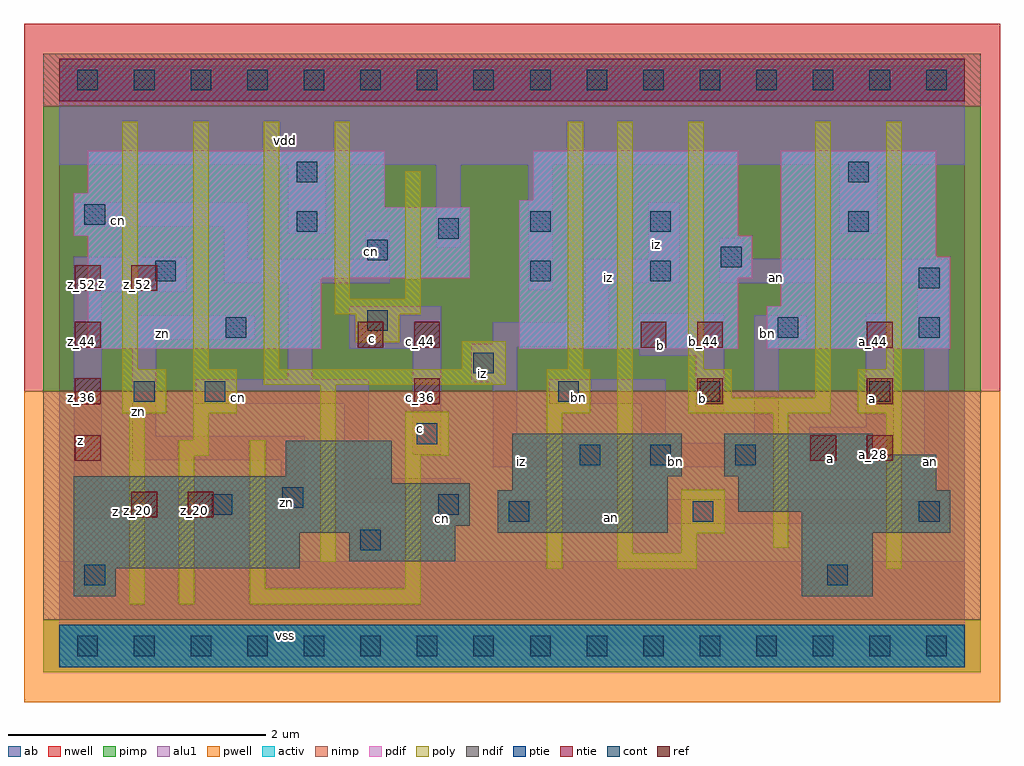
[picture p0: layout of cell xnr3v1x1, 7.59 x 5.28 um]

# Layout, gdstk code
import gdstk
lib = gdstk.Library(unit=1e-6, precision=2.5e-09)
def R(c, l, rs):  # rectangles x0, y0, x1, y1
    for r in rs: c.add(gdstk.rectangle(r[:2], r[2:], *l))
def A(c, l, x, y, w, h, nx, ny, dx, dy):  # array of equal rectangles
    R(c, l, [(x+i*dx, y+j*dy, x+i*dx+w, y+j*dy+h) for i in range(nx) for j in range(ny)])
ndif = (3, 0)
pdif = (4, 0)
ntie = (5, 0)
ptie = (6, 0)
ref = (24, 0)
cont = (25, 0)
pwell = (41, 0)
nwell = (42, 0)
activ = (43, 0)
pimp = (44, 0)
nimp = (45, 0)
poly = (46, 0)
alu1 = (49, 0)
ab = (63, 0)

xnr3v1x1 = lib.new_cell('xnr3v1x1')
R(xnr3v1x1, ndif, [(0.11,0.385,0.44,0.605), (5.775,0.385,6.325,0.88), (0.11,0.605,1.87,0.88), (2.255,0.66,3.08,0.88), (0.11,0.88,3.08,0.935), (3.41,0.88,4.73,1.21), (5.775,0.88,6.93,1.045), (0.11,0.935,3.19,1.265), (5.28,1.045,6.93,1.21), (3.52,1.21,4.73,1.32), (5.28,1.21,6.82,1.32), (0.11,1.265,2.585,1.32), (1.76,1.32,2.585,1.595), (3.52,1.32,4.84,1.65), (5.17,1.32,6.82,1.485), (5.17,1.485,6.325,1.65)])
R(xnr3v1x1, pdif, [(0.22,2.31,2.035,2.86), (3.575,2.31,5.28,2.86), (5.5,2.31,6.93,2.64), (5.61,2.64,6.93,3.025), (0.22,2.86,3.19,3.19), (3.575,2.86,5.39,3.19), (5.61,3.025,6.82,3.85), (0.11,3.19,3.19,3.41), (3.575,3.19,5.28,3.465), (0.11,3.41,2.53,3.52), (3.685,3.465,5.28,3.85), (0.22,3.52,2.53,3.85)])
R(xnr3v1x1, ntie, [(0,4.235,7.04,4.565)])
R(xnr3v1x1, ptie, [(0,-0.165,7.04,0.165)])
A(xnr3v1x1, ref, 0.12, 1.44, 0.2, 0.2, 1, 4, 0, 0.44)
A(xnr3v1x1, ref, 6.28, 1.44, 0.2, 0.2, 1, 3, 0, 0.44)
R(xnr3v1x1, ref, [(0.56,1,0.76,1.2), (1,1,1.2,1.2), (5.84,1.44,6.04,1.64), (2.76,1.88,2.96,2.08), (4.96,1.88,5.16,2.08), (2.32,2.32,2.52,2.52), (2.76,2.32,2.96,2.52), (4.52,2.32,4.72,2.52), (4.96,2.32,5.16,2.52), (0.56,2.76,0.76,2.96)])
A(xnr3v1x1, cont, 0.14, -0.08, 0.16, 0.16, 16, 2, 0.44, 4.4)
R(xnr3v1x1, cont, [(0.195,0.47,0.355,0.63), (5.97,0.47,6.13,0.63), (2.34,0.745,2.5,0.905), (3.495,0.965,3.655,1.125), (4.925,0.965,5.085,1.125), (6.685,0.965,6.845,1.125), (1.185,1.02,1.345,1.18), (2.945,1.02,3.105,1.18), (1.735,1.075,1.895,1.235), (4.045,1.405,4.205,1.565), (4.595,1.405,4.755,1.565), (5.255,1.405,5.415,1.565), (2.78,1.57,2.94,1.73), (0.58,1.9,0.74,2.06), (1.13,1.9,1.29,2.06), (3.88,1.9,4.04,2.06), (4.98,1.9,5.14,2.06), (6.3,1.9,6.46,2.06), (3.22,2.12,3.38,2.28), (1.295,2.395,1.455,2.555), (5.585,2.395,5.745,2.555), (6.685,2.395,6.845,2.555), (2.395,2.45,2.555,2.61), (6.685,2.78,6.845,2.94), (0.745,2.835,0.905,2.995), (3.66,2.835,3.82,2.995), (4.595,2.835,4.755,2.995), (5.145,2.945,5.305,3.105), (2.395,3,2.555,3.16), (2.945,3.165,3.105,3.325), (1.845,3.22,2.005,3.38), (3.66,3.22,3.82,3.38), (4.595,3.22,4.755,3.38), (6.135,3.22,6.295,3.38), (0.195,3.275,0.355,3.435), (1.845,3.605,2.005,3.765), (6.135,3.605,6.295,3.765)])
R(xnr3v1x1, pwell, [(-0.275,-0.44,7.315,1.98)])
R(xnr3v1x1, nwell, [(-0.275,1.98,7.315,4.84)])
R(xnr3v1x1, activ, [(0,-0.165,7.04,0.165), (0.11,0.385,0.44,0.605), (5.775,0.385,6.325,0.88), (0.11,0.605,1.87,0.88), (2.255,0.66,3.08,0.88), (0.11,0.88,3.08,0.935), (3.41,0.88,4.73,1.21), (5.775,0.88,6.93,1.045), (0.11,0.935,3.19,1.265), (5.28,1.045,6.93,1.21), (3.52,1.21,4.73,1.32), (5.28,1.21,6.82,1.32), (0.11,1.265,2.585,1.32), (1.76,1.32,2.585,1.595), (3.52,1.32,4.84,1.65), (5.17,1.32,6.82,1.485), (5.17,1.485,6.325,1.65), (0.22,2.31,2.035,2.86), (3.575,2.31,5.28,2.86), (5.5,2.31,6.93,2.64), (5.61,2.64,6.93,3.025), (0.22,2.86,3.19,3.19), (3.575,2.86,5.39,3.19), (5.61,3.025,6.82,3.85), (0.11,3.19,3.19,3.41), (3.575,3.19,5.28,3.465), (0.11,3.41,2.53,3.52), (3.685,3.465,5.28,3.85), (0.22,3.52,2.53,3.85), (0,4.235,7.04,4.565)])
R(xnr3v1x1, pimp, [(-0.125,-0.205,7.165,0.205), (-0.125,1.98,7.165,4.195)])
R(xnr3v1x1, nimp, [(-0.125,0.205,7.165,1.98), (-0.125,4.195,7.165,4.605)])
A(xnr3v1x1, poly, 0.49, 2.15, 0.12, 1.925, 3, 1, 0.55, 0)
R(xnr3v1x1, poly, [(0.545,0.325,0.665,1.81), (0.93,0.325,1.05,1.48), (1.48,0.325,2.81,0.445), (1.48,0.445,1.6,1.6), (2.69,0.445,2.81,1.48), (3.79,0.6,3.91,1.81), (4.34,0.6,4.955,0.72), (6.43,0.6,6.55,1.81), (2.03,0.655,2.15,2.03), (4.34,0.72,4.46,4.075), (4.835,0.72,4.955,0.875), (5.55,0.765,5.67,1.81), (4.835,0.875,5.175,1.215), (0.93,1.48,1.16,1.6), (2.69,1.48,3.03,1.82), (1.04,1.6,1.16,1.81), (0.49,1.81,0.83,2.15), (1.04,1.81,1.38,2.15), (3.79,1.81,4.13,2.15), (4.89,1.81,6,1.93), (6.21,1.81,6.55,2.15), (4.89,1.93,5.23,2.15), (5.88,1.93,6,4.075), (1.59,2.03,3.47,2.15), (3.13,2.15,3.47,2.37), (3.955,2.15,4.075,4.075), (4.89,2.15,5.01,4.075), (6.43,2.15,6.55,4.075), (2.305,2.36,2.645,2.58), (2.14,2.58,2.81,2.7), (2.14,2.7,2.26,4.075), (2.69,2.7,2.81,3.69)])
R(xnr3v1x1, alu1, [(0,-0.11,7.04,0.66), (2.27,0.66,2.57,0.92), (2.93,0.95,3.12,1.115), (3.425,0.95,6.915,1.14), (0.11,0.99,1.43,1.21), (1.72,1.005,1.91,1.445), (2.215,1.115,3.12,1.305), (6.725,1.14,6.915,2.325), (0.11,1.21,0.33,2.75), (2.215,1.305,2.405,1.885), (5.83,1.375,6.49,1.705), (3.37,1.39,4.275,1.58), (4.525,1.39,5.595,1.58), (0.565,1.445,1.91,1.635), (2.75,1.485,2.97,2.31), (3.37,1.58,3.56,2.05), (4.525,1.58,4.715,1.885), (5.405,1.58,5.595,2.38), (0.565,1.635,0.755,2.38), (6.27,1.705,6.49,2.585), (4.95,1.815,5.17,2.255), (1.06,1.885,2.405,2.075), (3.81,1.885,4.715,2.075), (3.205,2.05,3.56,2.325), (1.775,2.075,1.965,2.82), (4.51,2.255,5.17,2.585), (2.255,2.31,2.97,2.64), (3.205,2.325,4.275,2.35), (6.67,2.325,6.915,2.82), (3.37,2.35,4.275,2.515), (0.565,2.38,1.525,2.57), (5.405,2.38,5.815,2.57), (4.085,2.515,4.275,2.82), (0.11,2.75,0.99,3.025), (3.645,2.765,3.835,3.74), (1.28,2.82,2.57,3.01), (4.085,2.82,4.825,3.01), (5.13,2.82,6.915,3.01), (1.28,3.01,1.47,3.26), (2.38,3.01,2.57,3.23), (4.58,3.01,4.825,3.45), (5.13,3.01,5.32,3.175), (2.93,3.095,3.12,3.74), (1.775,3.205,2.075,3.74), (6.065,3.205,6.365,3.74), (0.125,3.26,1.47,3.45), (0,3.74,7.04,4.51)])
R(xnr3v1x1, ab, [(0,0,7.04,4.4)])
xnr3v1x1.add(gdstk.Label('vss', (1.76,0.0825), layer=49, texttype=0))
xnr3v1x1.add(gdstk.Label('an', (4.2975,0.9975), layer=49, texttype=0))
xnr3v1x1.add(gdstk.Label('cn', (2.9775,0.99), layer=49, texttype=0))
xnr3v1x1.add(gdstk.Label('an', (6.7725,1.435), layer=49, texttype=0))
xnr3v1x1.add(gdstk.Label('a', (5.995,1.4575), layer=49, texttype=0))
xnr3v1x1.add(gdstk.Label('bn', (4.7925,1.4375), layer=49, texttype=0))
xnr3v1x1.add(gdstk.Label('iz', (3.595,1.4375), layer=49, texttype=0))
xnr3v1x1.add(gdstk.Label('a', (6.325,1.925), layer=49, texttype=0))
xnr3v1x1.add(gdstk.Label('bn', (5.5075,2.4275), layer=49, texttype=0))
xnr3v1x1.add(gdstk.Label('b', (5.005,1.925), layer=49, texttype=0))
xnr3v1x1.add(gdstk.Label('bn', (4.035,1.9325), layer=49, texttype=0))
xnr3v1x1.add(gdstk.Label('b', (4.675,2.3375), layer=49, texttype=0))
xnr3v1x1.add(gdstk.Label('iz', (3.2925,2.1175), layer=49, texttype=0))
xnr3v1x1.add(gdstk.Label('c', (2.805,1.69), layer=49, texttype=0))
xnr3v1x1.add(gdstk.Label('zn', (1.7675,1.115), layer=49, texttype=0))
xnr3v1x1.add(gdstk.Label('z', (0.44,1.045), layer=49, texttype=0))
xnr3v1x1.add(gdstk.Label('cn', (1.395,1.9325), layer=49, texttype=0))
xnr3v1x1.add(gdstk.Label('c', (2.4325,2.3925), layer=49, texttype=0))
xnr3v1x1.add(gdstk.Label('an', (5.575,2.8675), layer=49, texttype=0))
xnr3v1x1.add(gdstk.Label('iz', (4.27,2.8675), layer=49, texttype=0))
xnr3v1x1.add(gdstk.Label('iz', (4.64,3.12), layer=49, texttype=0))
xnr3v1x1.add(gdstk.Label('zn', (0.6125,1.82), layer=49, texttype=0))
xnr3v1x1.add(gdstk.Label('zn', (0.805,2.4275), layer=49, texttype=0))
xnr3v1x1.add(gdstk.Label('z', (0.165,1.595), layer=49, texttype=0))
xnr3v1x1.add(gdstk.Label('cn', (2.4275,3.065), layer=49, texttype=0))
xnr3v1x1.add(gdstk.Label('z', (0.33,2.8175), layer=49, texttype=0))
xnr3v1x1.add(gdstk.Label('cn', (0.46,3.3075), layer=49, texttype=0))
xnr3v1x1.add(gdstk.Label('vdd', (1.76,3.9325), layer=49, texttype=0))
xnr3v1x1.add(gdstk.Label('b_44', (5.01,2.37), layer=24, texttype=0))
xnr3v1x1.add(gdstk.Label('b_36', (5.01,1.93), layer=24, texttype=0))
xnr3v1x1.add(gdstk.Label('b_44', (4.57,2.37), layer=24, texttype=0))
xnr3v1x1.add(gdstk.Label('c_44', (2.81,2.37), layer=24, texttype=0))
xnr3v1x1.add(gdstk.Label('c_36', (2.81,1.93), layer=24, texttype=0))
xnr3v1x1.add(gdstk.Label('c_44', (2.37,2.37), layer=24, texttype=0))
xnr3v1x1.add(gdstk.Label('z_52', (0.17,2.81), layer=24, texttype=0))
xnr3v1x1.add(gdstk.Label('z_44', (0.17,2.37), layer=24, texttype=0))
xnr3v1x1.add(gdstk.Label('z_36', (0.17,1.93), layer=24, texttype=0))
xnr3v1x1.add(gdstk.Label('z_28', (0.17,1.49), layer=24, texttype=0))
xnr3v1x1.add(gdstk.Label('z_20', (1.05,1.05), layer=24, texttype=0))
xnr3v1x1.add(gdstk.Label('z_52', (0.61,2.81), layer=24, texttype=0))
xnr3v1x1.add(gdstk.Label('z_20', (0.61,1.05), layer=24, texttype=0))
xnr3v1x1.add(gdstk.Label('a_44', (6.33,2.37), layer=24, texttype=0))
xnr3v1x1.add(gdstk.Label('a_36', (6.33,1.93), layer=24, texttype=0))
xnr3v1x1.add(gdstk.Label('a_28', (6.33,1.49), layer=24, texttype=0))
xnr3v1x1.add(gdstk.Label('a_28', (5.89,1.49), layer=24, texttype=0))

lib.write_gds('xnr3v1x1.gds')
